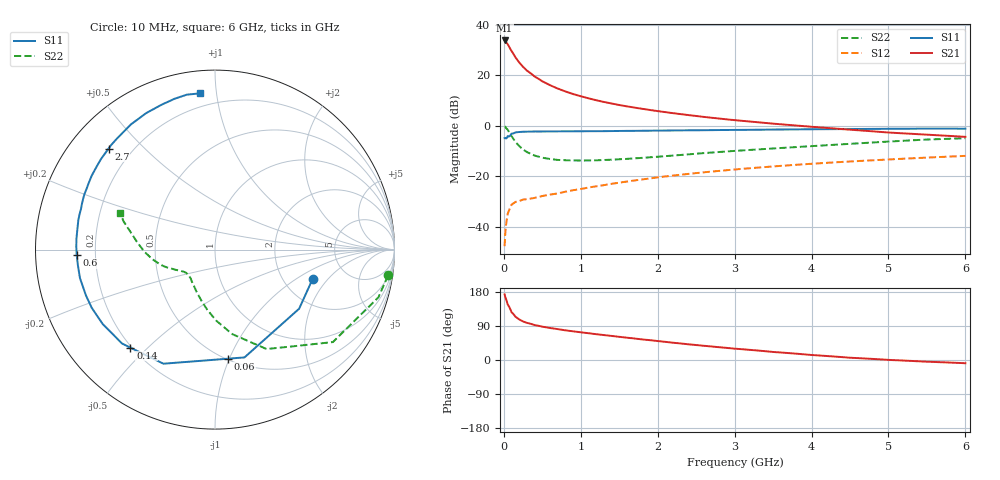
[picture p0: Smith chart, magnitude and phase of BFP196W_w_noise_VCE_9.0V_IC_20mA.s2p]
! Infineon Technologies  Discrete & RF Semiconductors
! BFP196W
! VCE =  9.0 V,  IC =  20 mA
! Common Emitter S-Parameters:  Jan 2017
# GHz  S  MA  R  50
!  f  S11  S21  S12  S22
! GHz  MAG  ANG  MAG  ANG  MAG  ANG  MAG  ANG
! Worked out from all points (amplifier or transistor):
!   77 points, 10 MHz to 6 GHz, reference 50 ohm
!   highest |S21| = 33.8 dB at 10 MHz (marker M1)
!   |S21| within 3 dB of that: start of sweep to 77.74 MHz
!   unconditionally stable (mu >= 1): 1.024 GHz to 3.204 GHz
!   at 130 MHz: K = 0.23, MSG = 29.4 dB, |S12| = -30.7 dB
!   at 2.2 GHz: K = 1.06, MAG = 10.9 dB, |S12| = -19.8 dB
!   at 6 GHz: K = 0.89, MSG = 3.8 dB, |S12| = -12.0 dB
!   lowest NFmin = 1.02 dB at 450 MHz
!   S11 on the Smith chart (normalised r, x): 10 MHz: 2.89, -1.39; 60 MHz: 0.51, -0.99; 140 MHz: 0.19, -0.44; 600 MHz: 0.13, -0.02; 2.7 GHz: 0.12, +0.39; 6 GHz: 0.12, +0.90
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0.01  0.5681 -16.7  48.96 173.2  0.0041 81.1  0.9748 -8.5
0.02  0.5729 -35.1  47.47 165.3  0.008 82.4  0.9484 -16.3
0.05  0.6227 -74.7  41.35 146.6  0.0179 61.3  0.8349 -38.1
0.06  0.6122 -83.1  38.81 143.5  0.0196 56.7  0.7832 -41.9
0.1  0.6976 -114.3  30.3 126.1  0.0272 44.6  0.6242 -62.6
0.14  0.7215 -130.8  24.19 117.4  0.03 39.1  0.5055 -74.6
0.15  0.7363 -134.7  22.78 114.5  0.0308 37.9  0.4804 -78.5
0.2  0.7506 -146.5  17.91 107.0  0.0322 34.4  0.3952 -89.1
0.25  0.7596 -154.7  14.68 101.7  0.0344 33.6  0.338 -97.3
0.3  0.763 -160.4  12.38 98.0  0.035 32.8  0.3003 -103.8
0.4  0.769 -168.1  9.455 92.2  0.0371 35.2  0.2562 -113.7
0.5  0.7689 -173.6  7.599 88.0  0.0404 37.3  0.2323 -120.7
0.6  0.7711 -177.8  6.364 84.5  0.0432 39.9  0.2192 -126.2
0.8  0.7743 175.4  4.786 78.3  0.0492 45.2  0.2071 -133.0
1.1  0.7791 167.7  3.495 70.7  0.0596 49.3  0.2054 -139.6
1.5  0.7871 159.1  2.573 61.2  0.0744 52.2  0.2164 -145.7
2.1  0.8027 147.0  1.859 47.9  0.0988 53.0  0.2495 -153.5
2.7  0.8175 136.5  1.44 35.7  0.1233 51.2  0.294 -161.1
3.1  0.8271 129.9  1.249 28.4  0.1397 49.2  0.324 -166.3
4.1  0.8526 115.4  0.928 11.9  0.18 43.0  0.4022 180.0
5.1  0.8708 104.2  0.719 -0.6  0.2181 35.7  0.4942 166.7
6  0.8747 95.6  0.602 -8.5  0.2526 28.9  0.5651 159.0
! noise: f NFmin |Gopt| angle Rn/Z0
0.45  1.02  0.4  170  0.05
0.9  1.2  0.51  178  0.05
1.9  2.11  0.69  -155  0.11
2.4  2.55  0.74  -147  0.2
